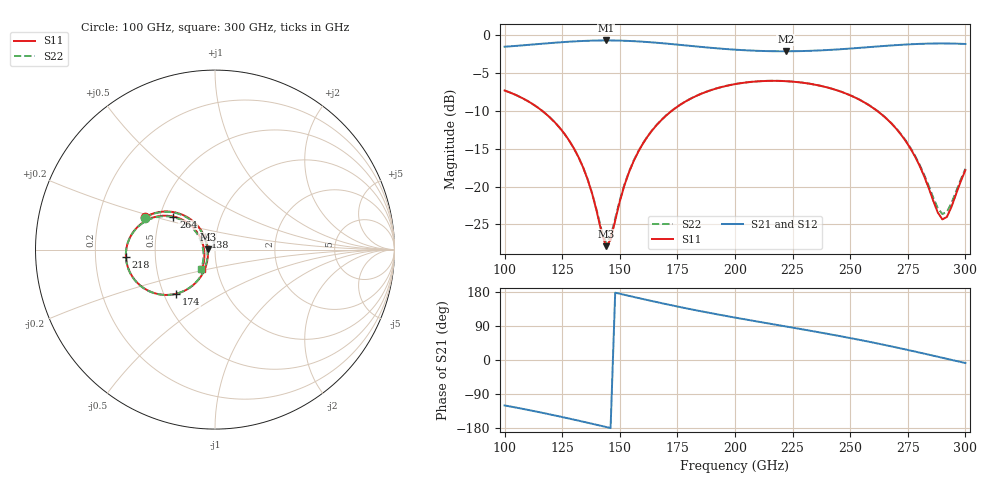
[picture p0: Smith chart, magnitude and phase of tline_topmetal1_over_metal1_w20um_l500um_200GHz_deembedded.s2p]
! Created with skrf 2.2.0 (http://scikit-rf.org).
# GHz S DB R 50.0
! Port[1] = P1
! Port[2] = P2
!freq dBS11 angS11 dBS21 angS21 dBS12 angS12 dBS22 angS22
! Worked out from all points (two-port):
!   101 points, 100 GHz to 300 GHz, reference 50 ohm
!   highest |S21| = -0.72 dB at 144 GHz (marker M1); lowest = -2.2 dB at 222 GHz (marker M2)
!   |S21| within 3 dB of the highest: start of sweep to end of sweep
!   lowest |S11| = -27.9 dB at 144 GHz (marker M3), VSWR 1.08, Z = 46.1 + j0.208 ohm
!   |S11| at or under -10 dB: 116.3 GHz to 172.6 GHz (56.36 GHz wide, 39 % of centre); 261.6 GHz to end of sweep
!   |S22| runs from -27.4 to -6.0 dB; largest |S21 - S12| = 9e-14
!   S11 on the Smith chart (normalised r, x): 100 GHz: 0.41, +0.18; 138 GHz: 0.88, +0.12; 174 GHz: 0.58, -0.32; 218 GHz: 0.34, -0.04; 264 GHz: 0.59, +0.24; 300 GHz: 0.85, -0.18
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100  -7.33 155.3  -1.55 -119.9  -1.55 -119.9  -7.33 155.6
120  -10.98 134.7  -1.06 -144.0  -1.06 -144.0  -10.98 135.2
128  -13.93 127.8  -0.89 -154.5  -0.89 -154.5  -13.92 128.6
134  -17.43 125.7  -0.79 -162.7  -0.79 -162.7  -17.41 126.8
138  -20.96 129.6  -0.75 -168.3  -0.75 -168.3  -20.89 131.1
144  -27.87 176.8  -0.72 -176.7  -0.72 -176.7  -27.40 177.9
146  -27.05 -152.1  -0.73 -179.5  -0.73 -179.5  -26.62 -152.7
152  -19.85 -119.2  -0.77 172.0  -0.77 172.0  -19.74 -120.1
156  -16.65 -117.2  -0.82 166.4  -0.82 166.4  -16.59 -117.8
168  -11.24 -125.4  -1.08 150.2  -1.08 150.2  -11.22 -125.6
174  -9.68 -131.4  -1.24 142.4  -1.24 142.4  -9.66 -131.5
200  -6.49 -157.9  -1.94 112.0  -1.94 112.0  -6.48 -157.8
218  -6.06 -175.2  -2.15 92.8  -2.15 92.8  -6.05 -175.0
222  -6.10 -179.0  -2.15 88.6  -2.15 88.6  -6.09 -178.7
234  -6.52 169.6  -2.07 75.8  -2.07 75.8  -6.51 170.0
250  -7.96 154.4  -1.79 57.9  -1.79 57.9  -7.95 154.9
264  -10.58 141.5  -1.47 40.9  -1.47 40.9  -10.55 142.4
268  -11.72 138.4  -1.38 35.7  -1.38 35.7  -11.68 139.5
278  -15.97 134.8  -1.20 22.4  -1.20 22.4  -15.86 136.5
290  -24.34 -178.6  -1.12 5.9  -1.12 5.9  -23.64 -178.1
292  -24.00 -158.9  -1.12 3.1  -1.12 3.1  -23.35 -160.0
300  -17.84 -124.2  -1.19 -8.0  -1.19 -8.0  -17.67 -126.0
